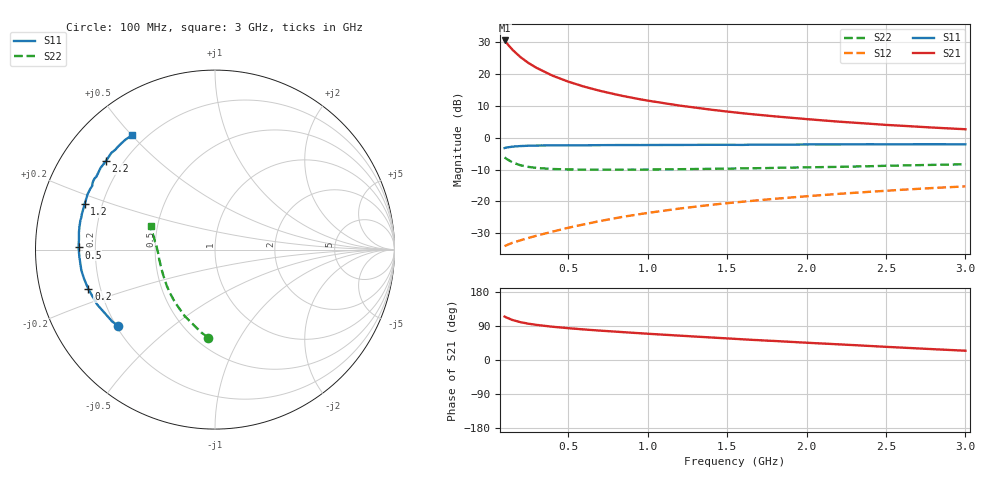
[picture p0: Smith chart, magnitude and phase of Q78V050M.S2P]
! SIEMENS Small Signal Semiconductors
! BFQ196
! Si NPN RF Bipolar Junction Transistor in CEREC-X
! VCE = 8 V  IC = 50 mA
! Common Emitter S-Parameters:  July  1992
# GHz  S  MA  R  50
!  f  S11  S21  S12  S22
! GHz  MAG  ANG  MAG  ANG  MAG  ANG  MAG  ANG
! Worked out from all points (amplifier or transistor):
!   30 points, 100 MHz to 3 GHz, reference 50 ohm
!   highest |S21| = 30.5 dB at 100 MHz (marker M1)
!   |S21| within 3 dB of that: start of sweep to 151.1 MHz
!   unconditionally stable (mu >= 1): 767.9 MHz to end of sweep
!   at 300 MHz: K = 0.73, MSG = 26.4 dB, |S12| = -30.8 dB
!   at 1.2 GHz: K = 1.05, MAG = 14.8 dB, |S12| = -22.3 dB
!   at 3 GHz: K = 1.04, MAG = 7.8 dB, |S12| = -15.3 dB
!   S11 on the Smith chart (normalised r, x): 100 MHz: 0.21, -0.33; 200 MHz: 0.15, -0.15; 500 MHz: 0.14, +0.01; 1.2 GHz: 0.13, +0.17; 2.2 GHz: 0.14, +0.35; 3 GHz: 0.15, +0.50
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0.1  0.6876 -141.8  33.66 114.7  0.0198 42.5  0.4916 -94.5
0.11  0.6991 -145.1  31.2 112.4  0.0204 42.0  0.4689 -99.2
0.15  0.7242 -155.0  23.96 105.5  0.0224 41.4  0.4084 -114.1
0.2  0.7392 -162.7  18.41 99.8  0.0245 42.4  0.369 -127.2
0.25  0.748 -167.7  14.93 95.8  0.0266 44.5  0.3479 -136.4
0.3  0.7535 -171.3  12.54 92.7  0.0289 46.4  0.3355 -143.3
0.4  0.7568 -176.9  9.464 87.8  0.0334 50.3  0.3224 -152.9
0.5  0.7604 179.1  7.599 84.0  0.0385 53.2  0.3176 -159.3
0.6  0.76 175.7  6.345 80.6  0.0436 55.1  0.3152 -164.1
0.7  0.7641 172.9  5.448 77.5  0.0491 56.4  0.3149 -167.8
0.8  0.7663 170.1  4.779 74.8  0.0546 57.3  0.3158 -170.7
0.85  0.7664 169.0  4.495 73.4  0.0575 57.3  0.3148 -171.9
0.95  0.7659 166.5  4.025 70.7  0.063 57.6  0.3157 -174.4
1  0.7677 165.2  3.826 69.3  0.0658 57.5  0.3165 -175.5
1.2  0.7694 160.7  3.198 64.3  0.0771 57.0  0.3201 -178.9
1.4  0.7739 156.4  2.754 59.4  0.0883 56.0  0.3246 177.8
1.6  0.7708 152.6  2.419 54.6  0.0989 54.5  0.3301 175.2
1.8  0.7757 148.6  2.164 50.2  0.1098 52.8  0.3363 172.7
2  0.7835 144.4  1.96 45.6  0.1203 50.9  0.3424 170.3
2.2  0.7827 140.9  1.789 41.4  0.1311 49.0  0.3484 168.1
2.6  0.7885 133.1  1.54 32.7  0.1521 44.9  0.3664 164.2
3  0.7872 125.8  1.358 24.5  0.172 40.5  0.3821 160.0
